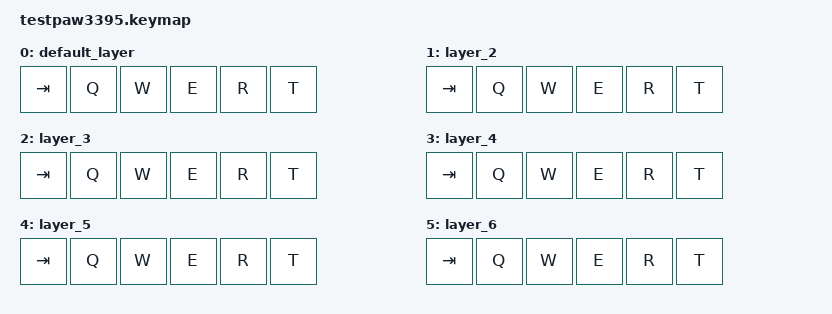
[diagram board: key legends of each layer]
/*
* Copyright (c) 2020 The ZMK Contributors
*
* SPDX-License-Identifier: MIT
* Modified by Nuty  L.A.B.S.
*/

#include <input/processors.dtsi>
#include <zephyr/dt-bindings/input/input-event-codes.h>
#include <behaviors.dtsi>
#include <dt-bindings/zmk/bt.h>
#include <dt-bindings/zmk/keys.h>
#include <dt-bindings/zmk/pointing.h>
#include <input/processors.dtsi>
#include <dt-bindings/zmk/input_transform.h>

/ {

    mou0_mmv_il {
        status = "okay";
        compatible = "zmk,input-listener";
        device = <&trackball0>;
        input-processors = <&zip_xy_scaler 4 2>;
        scroller {
            layers = <1 3>;
            input-processors = <&zip_xy_to_scroll_mapper>, <&zip_scroll_scaler 2 5>, <&zip_xy_transform (INPUT_TRANSFORM_Y_INVERT)>;
        };
    };


    behaviors {
        ec_s: mouse_scroll {
            compatible = "zmk,behavior-input-two-axis";
            #binding-cells = <1>;
            trigger-period-ms = <12>; // slow down for OTA, default is 3ms
            x-input-code = <INPUT_REL_HWHEEL>;
            y-input-code = <INPUT_REL_WHEEL>;
            time-to-max-speed-ms = <177>;
            acceleration-exponent = <0>;
        };
        hm: homerow_mods {
            compatible = "zmk,behavior-hold-tap";
            #binding-cells = <2>;
            tapping-term-ms = <150>;
            flavor = "tap-preferred";
            require-prior-idle-ms = <125>;
            bindings = <&kp>, <&kp>;
        };
    };

    keymap {
        compatible = "zmk,keymap";

        default_layer {
            bindings = <
                &kp TAB     &kp Q     &kp W       
                &kp E       &kp R     &kp T           
            >;
        };

        layer_2 {
            bindings = <
                &kp TAB     &kp Q     &kp W       
                &kp E       &kp R     &kp T           
            >;
        };

        layer_3 {
            bindings = <
                &kp TAB     &kp Q     &kp W       
                &kp E       &kp R     &kp T           
            >;
        };


        layer_4 {
            bindings = <
                &kp TAB     &kp Q     &kp W       
                &kp E       &kp R     &kp T           
            >;
        };

        layer_5 {
            bindings = <
                &kp TAB     &kp Q     &kp W       
                &kp E       &kp R     &kp T           
            >;
        };

        layer_6 {
            bindings = <
                &kp TAB     &kp Q     &kp W       
                &kp E       &kp R     &kp T           
            >;
        };
    };
};
